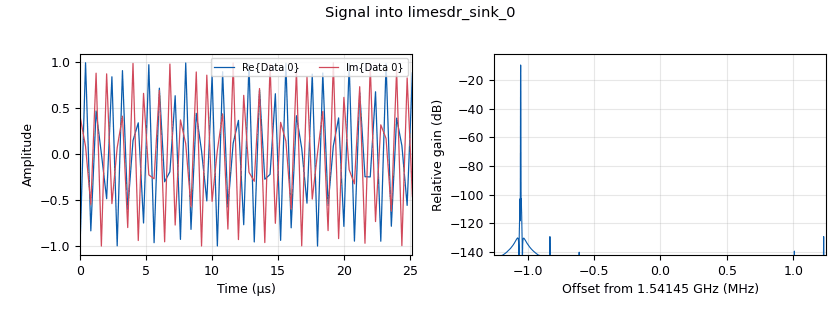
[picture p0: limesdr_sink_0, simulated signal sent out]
<?xml version='1.0' encoding='utf-8'?>
<?grc format='1' created='3.7.13'?>
<flow_graph>
<block>
<key>options</key>
<param><key>id</key><value>lime_tx</value></param>
<param><key>generate_options</key><value>no_gui</value></param>
</block>
<block>
<key>variable</key>
<param><key>id</key><value>channel_freq</value></param>
<param><key>value</key><value>1.541448e9</value></param>
</block>
<block>
<key>variable</key>
<param><key>id</key><value>samp_rate</value></param>
<param><key>value</key><value>2.5e6</value></param>
</block>
<block>
<key>variable</key>
<param><key>id</key><value>sync_freq</value></param>
<param><key>value</key><value>1.541448e9</value></param>
</block>
<block>
<key>analog_noise_source_x</key>
<param><key>id</key><value>analog_noise_source_x_0</value></param>
<param><key>amp</key><value>1</value></param>
<param><key>_enabled</key><value>0</value></param>
<param><key>noise_type</key><value>analog.GR_GAUSSIAN</value></param>
<param><key>type</key><value>complex</value></param>
<param><key>seed</key><value>0</value></param>
</block>
<block>
<key>analog_sig_source_x</key>
<param><key>id</key><value>analog_sig_source_x_0</value></param>
<param><key>amp</key><value>1</value></param>
<param><key>freq</key><value>channel_freq</value></param>
<param><key>offset</key><value>0</value></param>
<param><key>type</key><value>complex</value></param>
<param><key>samp_rate</key><value>samp_rate</value></param>
<param><key>waveform</key><value>analog.GR_COS_WAVE</value></param>
</block>
<block>
<key>limesdr_sink</key>
<param><key>id</key><value>limesdr_sink_0</value></param>
<param><key>allow_tcxo_dac</key><value>0</value></param>
<param><key>calibr_bandw_ch0</key><value>5e6</value></param>
<param><key>calibr_bandw_ch1</key><value>5e6</value></param>
<param><key>channel_mode</key><value>0</value></param>
<param><key>dacVal</key><value>125</value></param>
<param><key>digital_bandw_ch0</key><value>0</value></param>
<param><key>digital_bandw_ch1</key><value>0</value></param>
<param><key>gain_dB_ch0</key><value>30</value></param>
<param><key>gain_dB_ch1</key><value>30</value></param>
<param><key>oversample</key><value>0</value></param>
<param><key>pa_path_ch1</key><value>1</value></param>
<param><key>rf_freq</key><value>channel_freq</value></param>
<param><key>samp_rate</key><value>samp_rate</value></param>
</block>
<block>
<key>limesdr_sink</key>
<param><key>id</key><value>limesdr_sink_0_0</value></param>
<param><key>allow_tcxo_dac</key><value>0</value></param>
<param><key>calibr_bandw_ch0</key><value>5e6</value></param>
<param><key>calibr_bandw_ch1</key><value>5e6</value></param>
<param><key>channel_mode</key><value>0</value></param>
<param><key>dacVal</key><value>125</value></param>
<param><key>digital_bandw_ch0</key><value>0</value></param>
<param><key>digital_bandw_ch1</key><value>0</value></param>
<param><key>_enabled</key><value>0</value></param>
<param><key>gain_dB_ch0</key><value>30</value></param>
<param><key>gain_dB_ch1</key><value>30</value></param>
<param><key>oversample</key><value>0</value></param>
<param><key>pa_path_ch1</key><value>1</value></param>
<param><key>rf_freq</key><value>sync_freq</value></param>
<param><key>samp_rate</key><value>samp_rate</value></param>
</block>
<connection><source_block_id>analog_noise_source_x_0</source_block_id><sink_block_id>limesdr_sink_0_0</sink_block_id><source_key>0</source_key><sink_key>0</sink_key></connection>
<connection><source_block_id>analog_sig_source_x_0</source_block_id><sink_block_id>limesdr_sink_0</sink_block_id><source_key>0</source_key><sink_key>0</sink_key></connection>
</flow_graph>
